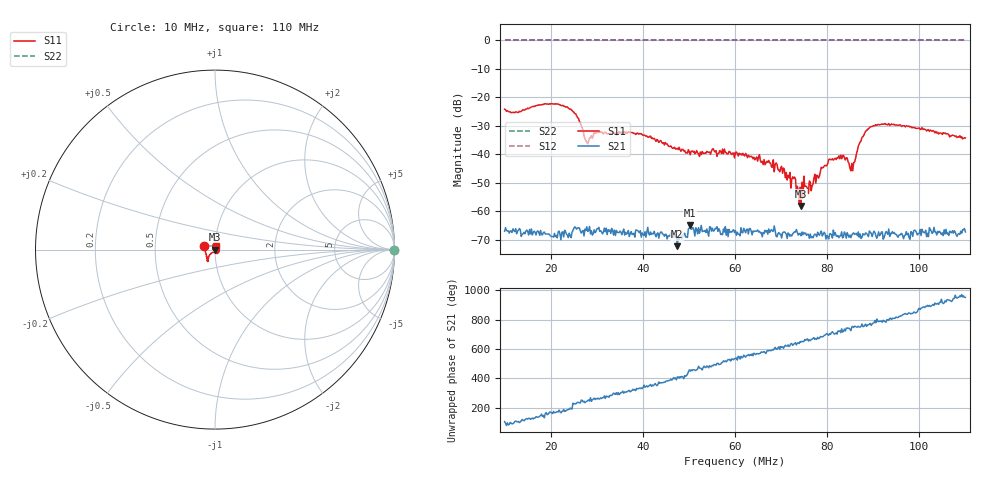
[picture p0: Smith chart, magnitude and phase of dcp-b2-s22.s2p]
! Anritsu VNA Master:  Model: MS2034B/10/19/501
! SN:  1337062
! /bd0/ovro-jan-2016/dcp-b2-s22.s2p
! Existing Calibration Information:
! TYPE:  Current Settings,  Active Cal Settings
! TIME:  01/09/2016 05:33:02 PM,  01/09/2016 12:40:35 PM
! INTERNAL TEMP:  41.0 C,  41.8 C
! # POINTS:  500,  500
! START FREQ:  10.000 MHz,  10.000 MHz
! STOP FREQ:  110.000 MHz,  110.000 MHz
! SOURCE POWER:  Low,  Low
! IFBW:  100 Hz,  100 Hz
! AVG FACTOR:  3 ,  3
! REF PLANE 1:  2.2245 m,  2.2245 m
! REF PLANE 2:  0 mm,  0 mm
! CAL TYPE:  1P2P S11,S21,  1P2P S11,S21
! CAL METHOD:  SOLT,  SOLT
! CAL LINE TYPE:  Coax,  Coax
! DUT PORT 1:  K-Conn(M),  K-Conn(M)
! DUT PORT 2:  N-Conn(M),  N-Conn(M)
! CAL STATUS:  OK: Accuracy High,  --
# GHZ S DB R 50.0
! FREQ.GHZ  S11DB  S11A  S21DB  S21A  S12DB  S12A  S22DB  S22A
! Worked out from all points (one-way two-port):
!   500 points, 10 MHz to 110 MHz, reference 50 ohm
!   highest |S21| = -64.82 dB at 50.28 MHz (marker M1); lowest = -72.3 dB at 47.47 MHz (marker M2)
!   lowest |S11| = -58.2 dB at 74.33 MHz (marker M3), VSWR 1.00, Z = 49.9 - j0.0985 ohm
!   |S11| at or under -10 dB: start of sweep to end of sweep
!   |S22| runs from 0.0 to 0.0 dB; largest |S21 - S12| = 1
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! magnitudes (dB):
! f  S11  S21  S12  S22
! 10 MHz  -24.2  -67.0  0.0  0.0
! 21.62 MHz  -22.4  -67.2  0.0  0.0
! 24.03 MHz  -24.0  -67.7  0.0  0.0
! 25.03 MHz  -25.2  -66.0  0.0  0.0
! 26.83 MHz  -30.7  -67.1  0.0  0.0
! 27.84 MHz  -35.7  -65.5  0.0  0.0
! 30.44 MHz  -32.4  -65.7  0.0  0.0
! 43.47 MHz  -35.8  -69.5  0.0  0.0
! 47.47 MHz  -37.9  -72.3  0.0  0.0
! 50.28 MHz  -40.2  -64.8  0.0  0.0
! 60.1 MHz  -39.3  -66.9  0.0  0.0
! 70.32 MHz  -46.7  -67.7  0.0  0.0
! 72.73 MHz  -48.5  -67.6  0.0  0.0
! 74.33 MHz  -58.2  -68.6  0.0  0.0
! 74.93 MHz  -47.7  -67.5  0.0  0.0
! 76.73 MHz  -51.1  -69.0  0.0  0.0
! 80.74 MHz  -41.9  -67.9  0.0  0.0
! 83.35 MHz  -40.6  -69.4  0.0  0.0
! 85.35 MHz  -43.2  -68.3  0.0  0.0
! 88.56 MHz  -31.7  -67.9  0.0  0.0
! 93.37 MHz  -29.2  -66.3  0.0  0.0
! 110 MHz  -34.3  -67.3  0.0  0.0
